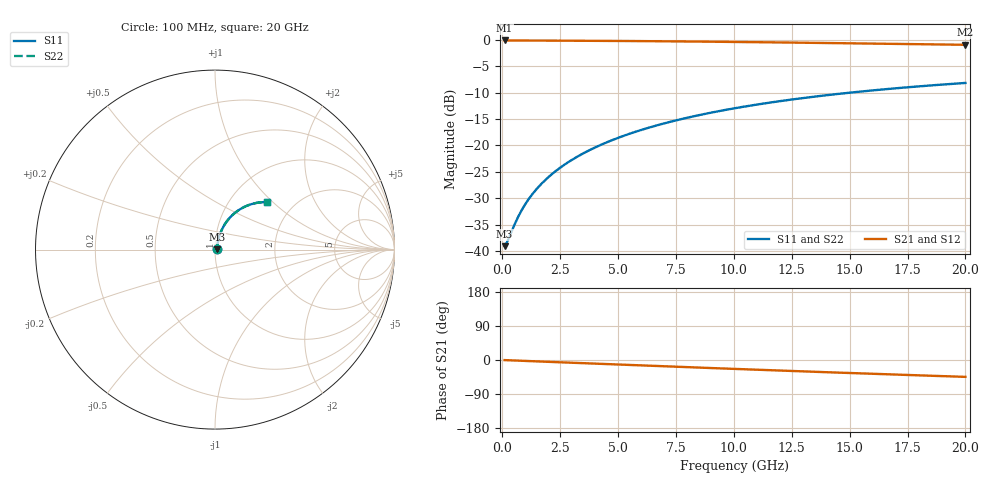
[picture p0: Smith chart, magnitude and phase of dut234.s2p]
! Touchstone file exported from HFSS 2026.1.0
!  File:  C:/ffzhzh/LocalFiles/Ansys_Project_Files/temp_train_BSMRDL_234_1782988303_40604.aedt
!  Generated:  06:32:52 PM Jul  2, 2026
!  Design:  BSMRDL
!  Project:  temp_train_BSMRDL_234_1782988303_40604
! Variables:
!  h_bsmrdl = 2.17um
!  h_ox = 20um
!  h_rdl = 5um
!  h_sub = 80um
!  h_tmrdl = 5um
!  h_tsv = 80um
!  h_via = 3um
!  l_bsmrdl = 693.56um
!  l_sub = 1093.56um
!  l_tmrdl = 200um
!  m_sub = 200um
!  pitch = 23.12um
!  r_tsv = 6um
!  s_tmrdl = 10um
!  w_bsmrdl = 10.39um
!  w_sub = 500um
!  w_tmrdl = 12um
!  x_tsv_center1 = 206um
!  x_tsv_center2 = 909.95um
!  x_tsv_center3 = 1121.95um
!  x_tsv_center4 = 1825.9um
!  x_tsv_center5 = 2037.9um
!  x_tsv_center6 = 2741.85um
# GHz S MA R 50.000000
! Terminal data exported
! Port[1] = BSM_RDL1_1_T1
! Port[2] = BSM_RDL1_1_T2
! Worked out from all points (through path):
!   200 points, 100 MHz to 20 GHz, reference 50 ohm
!   highest |S21| = -0.09 dB at 100 MHz (marker M1); lowest = -0.9 dB at 20 GHz (marker M2)
!   group delay of S21, straight-line fit = 6.19 ps
!   lowest |S11| = -39.1 dB at 100 MHz (marker M3), VSWR 1.02, Z = 51.1 + j0.265 ohm
!   |S11| at or under -10 dB: start of sweep to 14.99 GHz
!   |S22| runs from -39.1 to -8.1 dB; largest |S21 - S12| = 2.7e-15
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0.1  0.0111 13.5  0.9892 -0.3  0.9892 -0.3  0.0111 13.5
! Gamma 0 0 0 0
! Port Impedance 50 0 50 0
0.2  0.01206 25.4  0.9891 -0.5  0.9891 -0.5  0.01206 25.4
0.6  0.01923 52.0  0.9884 -1.5  0.9884 -1.5  0.01923 52.0
0.8  0.02352 58.0  0.988 -2.0  0.988 -2.0  0.02352 58.0
0.9  0.02571 60.1  0.9878 -2.2  0.9878 -2.2  0.02571 60.1
1.1  0.03013 63.3  0.9874 -2.7  0.9874 -2.7  0.03013 63.3
1.4  0.0368 66.5  0.9868 -3.4  0.9868 -3.4  0.0368 66.5
1.8  0.04574 69.1  0.986 -4.4  0.986 -4.4  0.04574 69.1
2.3  0.057 70.9  0.9851 -5.6  0.9851 -5.6  0.057 70.9
2.9  0.07058 71.9  0.984 -7.0  0.984 -7.0  0.07058 71.9
3.5  0.08419 72.1  0.9827 -8.4  0.9827 -8.4  0.08419 72.1
4.2  0.1 71.8  0.981 -10.1  0.981 -10.1  0.1 71.8
5  0.118 71.0  0.9787 -12.0  0.9787 -12.0  0.118 71.0
5.9  0.138 69.8  0.9757 -14.1  0.9757 -14.1  0.138 69.8
6.8  0.1577 68.3  0.9724 -16.2  0.9724 -16.2  0.1577 68.4
8.3  0.1897 65.6  0.9661 -19.6  0.9661 -19.6  0.1897 65.6
10.1  0.2265 62.1  0.9575 -23.7  0.9575 -23.7  0.2265 62.1
11.7  0.2576 58.9  0.949 -27.2  0.949 -27.2  0.2576 58.9
13.4  0.2888 55.5  0.9394 -30.9  0.9394 -30.9  0.2888 55.5
15  0.3164 52.3  0.9299 -34.3  0.9299 -34.3  0.3164 52.3
16.7  0.3438 48.9  0.9196 -37.9  0.9196 -37.9  0.3438 48.9
20  0.3913 42.5  0.8997 -44.5  0.8997 -44.5  0.3913 42.5
